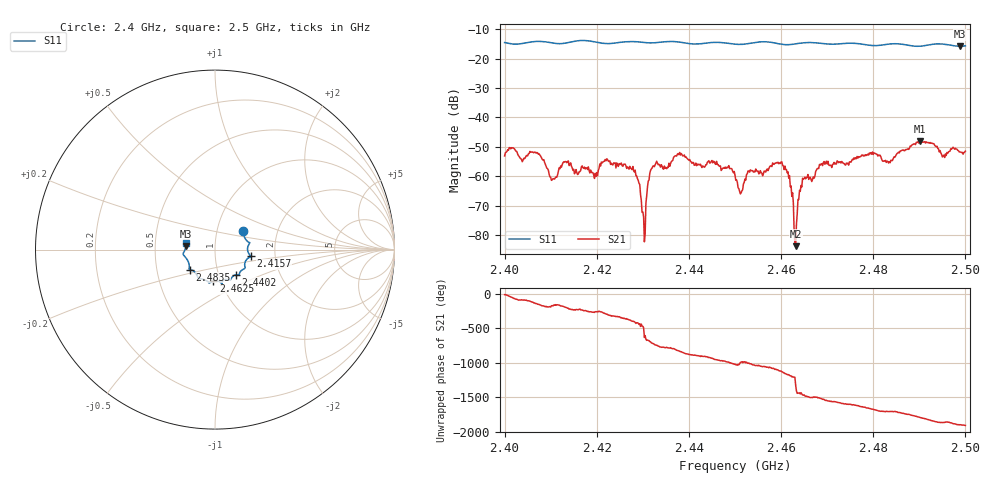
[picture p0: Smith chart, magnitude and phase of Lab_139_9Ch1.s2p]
# Hz S RI R 50
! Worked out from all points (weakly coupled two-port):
!   601 points, 2.4 GHz to 2.5 GHz, reference 50 ohm
!   highest |S21| = -48.10 dB at 2.4902 GHz (marker M1); lowest = -83.9 dB at 2.4632 GHz (marker M2)
!   lowest |S11| = -15.7 dB at 2.4988 GHz (marker M3), VSWR 1.39, Z = 36 + j1.29 ohm
!   |S11| at or under -10 dB: start of sweep to end of sweep
!   S12 and S22 are empty: the file has one direction only
!   S11 on the Smith chart (normalised r, x): 2.4 GHz: 1.34, +0.29; 2.4157 GHz: 1.49, -0.11; 2.4402 GHz: 1.20, -0.35; 2.4625 GHz: 0.92, -0.34; 2.4835 GHz: 0.74, -0.17; 2.5 GHz: 0.72, +0.05
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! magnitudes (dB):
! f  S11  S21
! 2.4 GHz  -14.5  -53.1
! 2.4157 GHz  -13.9  -58.8
! 2.4167 GHz  -13.7  -56.8
! 2.4278 GHz  -14.1  -56.7
! 2.4302 GHz  -14.4  -73.8
! 2.4317 GHz  -14.6  -58.1
! 2.4333 GHz  -14.4  -56.1
! 2.4402 GHz  -14.8  -54.3
! 2.45 GHz  -15.0  -59.7
! 2.4512 GHz  -15.1  -66.0
! 2.4532 GHz  -14.7  -58.6
! 2.4598 GHz  -15.0  -55.7
! 2.4613 GHz  -15.2  -58.8
! 2.4625 GHz  -15.0  -65.7
! 2.4632 GHz  -14.9  -83.9
! 2.4645 GHz  -14.6  -63.7
! 2.4667 GHz  -14.5  -61.8
! 2.4833 GHz  -15.0  -55.5
! 2.4835 GHz  -15.0  -55.1
! 2.4902 GHz  -15.7  -48.1
! 2.4988 GHz  -15.7  -51.7
! 2.5 GHz  -15.6  -51.5
